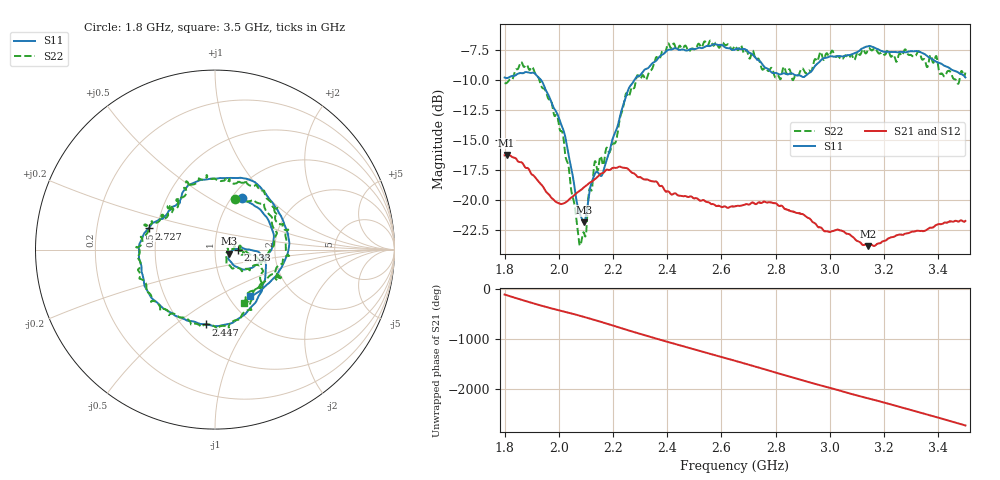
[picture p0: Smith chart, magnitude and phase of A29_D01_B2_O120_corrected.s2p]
! Created with skrf 1.9.0 (http://scikit-rf.org).
# Hz S RI R 50.0
!freq ReS11 ImS11 ReS21 ImS21 ReS12 ImS12 ReS22 ImS22
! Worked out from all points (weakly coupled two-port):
!   1601 points, 1.8 GHz to 3.5 GHz, reference 50 ohm
!   highest |S21| = -16.29 dB at 1.807 GHz (marker M1); lowest = -23.9 dB at 3.142 GHz (marker M2)
!   lowest |S11| = -21.9 dB at 2.092 GHz (marker M3), VSWR 1.17, Z = 58.3 - j2.55 ohm
!   |S11| at or under -10 dB: 1.933 GHz to 2.28 GHz (346.6 MHz wide, 16.5 % of centre)
!   |S22| runs from -23.8 to -6.7 dB; largest |S21 - S12| = 0.0029
!   S11 on the Smith chart (normalised r, x): 1.8 GHz: 1.11, +0.71; 2.133 GHz: 1.29, -0.01; 2.447 GHz: 0.64, -0.65; 2.727 GHz: 0.45, +0.12; 3.5 GHz: 1.25, -0.72
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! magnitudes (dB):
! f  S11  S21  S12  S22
! 1.8 GHz  -9.8  -16.3  -16.3  -10.3
! 1.807 GHz  -9.9  -16.3  -16.3  -10.3
! 1.865 GHz  -9.5  -16.9  -17.0  -8.6
! 1.915 GHz  -9.6  -18.2  -18.2  -9.5
! 1.969 GHz  -11.7  -19.7  -19.8  -11.7
! 2.014 GHz  -14.0  -20.3  -20.4  -14.4
! 2.073 GHz  -20.8  -19.3  -19.4  -23.2
! 2.084 GHz  -21.5  -19.2  -19.1  -23.4
! 2.092 GHz  -21.9  -19.0  -19.0  -22.8
! 2.133 GHz  -17.9  -18.3  -18.3  -16.8
! 2.163 GHz  -17.7  -17.8  -17.7  -17.1
! 2.209 GHz  -14.3  -17.4  -17.3  -15.2
! 2.261 GHz  -10.6  -17.6  -17.6  -11.3
! 2.367 GHz  -8.2  -18.7  -18.7  -8.3
! 2.447 GHz  -7.5  -19.7  -19.7  -7.2
! 2.65 GHz  -7.5  -20.6  -20.5  -7.2
! 2.727 GHz  -8.2  -20.4  -20.4  -8.3
! 2.812 GHz  -9.5  -20.5  -20.4  -9.7
! 2.934 GHz  -9.3  -21.8  -21.8  -9.2
! 3.142 GHz  -7.2  -23.9  -23.8  -7.4
! 3.217 GHz  -7.7  -23.2  -23.2  -7.6
! 3.5 GHz  -9.8  -21.8  -21.8  -9.4
